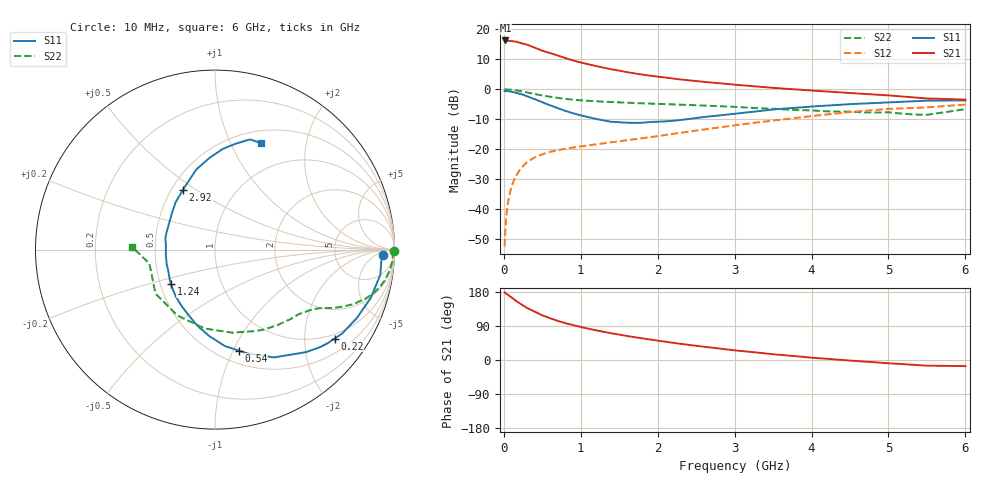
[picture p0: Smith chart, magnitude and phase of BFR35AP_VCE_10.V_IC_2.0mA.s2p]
! Infineon Technologies  Discrete & RF Semiconductors
! BFR35AP
! VCE =  10. V,  IC =  2.0 mA
! Common Emitter S-Parameters:  Nov 2015
# GHz  S  MA  R  50
!  f  S11  S21  S12  S22
! GHz  MAG  ANG  MAG  ANG  MAG  ANG  MAG  ANG
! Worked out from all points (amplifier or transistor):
!   210 points, 10 MHz to 6 GHz, reference 50 ohm
!   highest |S21| = 16.3 dB at 20 MHz (marker M1)
!   |S21| within 3 dB of that: start of sweep to 459.9 MHz
!   unconditionally stable (mu >= 1): 1.235 GHz to 3.273 GHz
!   at 185 MHz: K = 0.22, MSG = 21.7 dB, |S12| = -27.8 dB
!   at 1.52 GHz: K = 1.09, MAG = 9.9 dB, |S12| = -17.4 dB
!   at 6 GHz: K = 0.93, MSG = 0.8 dB, |S12| = -5.1 dB
!   S11 on the Smith chart (normalised r, x): 10 MHz: 24, -11; 220 MHz: 0.87, -2.78; 540 MHz: 0.62, -1.05; 1.24 GHz: 0.57, -0.24; 2.92 GHz: 0.57, +0.45; 6 GHz: 0.65, +1.31
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0.01  0.9347 -1.8  6.429 178.5  0.0024 95.5  0.999 -0.6
0.02  0.9292 -3.4  6.508 176.7  0.0046 85.2  0.9906 -1.4
0.045  0.9306 -7.8  6.48 173.1  0.0107 85.0  0.9913 -3.2
0.09  0.9114 -15.5  6.363 166.7  0.0212 80.5  0.9813 -6.2
0.15  0.877 -25.9  6.27 156.9  0.0339 75.0  0.9615 -10.3
0.22  0.8309 -36.6  5.885 147.8  0.0471 69.2  0.9278 -14.1
0.3  0.7641 -48.4  5.544 137.4  0.0602 63.6  0.8842 -17.9
0.4  0.6839 -61.4  4.961 127.5  0.0725 58.4  0.8304 -21.4
0.5  0.6071 -72.5  4.397 117.9  0.082 54.1  0.7848 -23.8
0.54  0.5776 -76.8  4.234 115.0  0.0852 53.0  0.7699 -24.5
0.7  0.4841 -93.6  3.656 103.2  0.0959 49.7  0.7152 -27.1
0.8  0.4344 -103.2  3.306 97.0  0.1011 48.5  0.6884 -28.2
1.02  0.3604 -122.1  2.748 86.1  0.1116 47.9  0.6495 -30.5
1.24  0.3111 -142.0  2.368 76.6  0.1222 48.1  0.6238 -32.9
1.6  0.2763 -172.2  1.925 63.3  0.1403 50.0  0.5929 -37.1
2.02  0.2872 158.5  1.603 50.6  0.1664 51.8  0.5692 -43.3
2.92  0.3786 118.0  1.216 27.4  0.2415 51.3  0.5127 -61.5
3.1  0.401 112.7  1.161 23.6  0.2593 50.2  0.4977 -66.3
4.1  0.5227 91.5  0.932 4.7  0.3671 41.7  0.4342 -101.6
5.1  0.6096 77.4  0.77 -9.8  0.4739 27.1  0.3991 -148.0
5.5  0.6443 72.4  0.701 -15.0  0.4977 20.0  0.3737 -168.1
6  0.6459 66.5  0.671 -16.1  0.5538 15.3  0.4643 178.0
